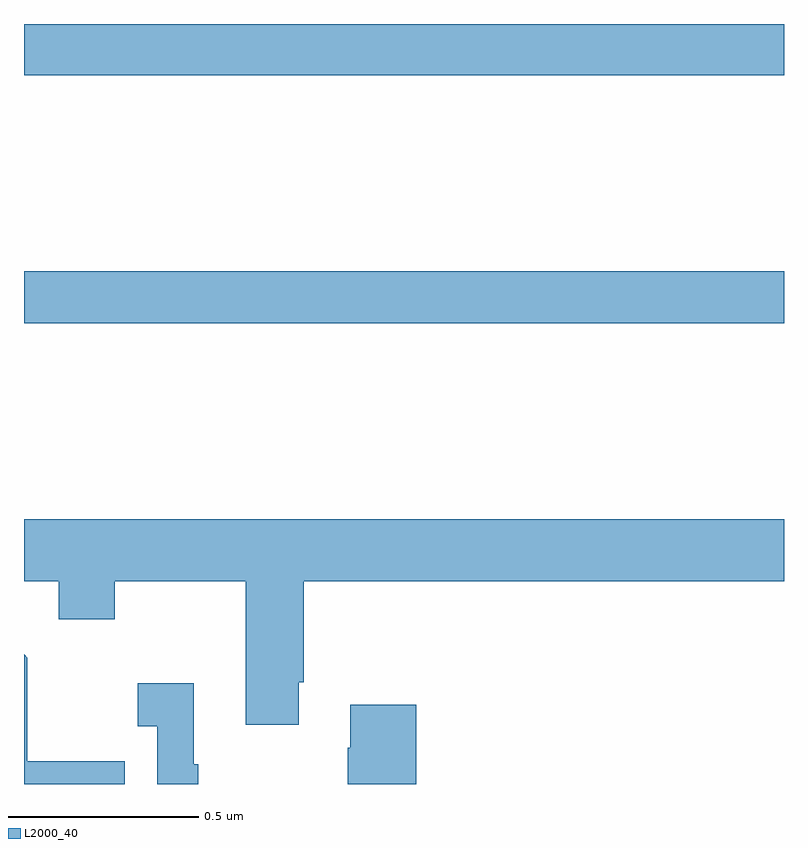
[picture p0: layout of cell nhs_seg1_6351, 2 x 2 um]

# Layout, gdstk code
import gdstk
lib = gdstk.Library(unit=1e-6, precision=1e-09)
def R(c, l, rs):  # rectangles x0, y0, x1, y1
    for r in rs: c.add(gdstk.rectangle(r[:2], r[2:], *l))
def P(c, l, *ps):  # polygons
    for p in ps: c.add(gdstk.Polygon(p, *l))
L2000_40 = (2000, 40)

nhs_seg1_6351 = lib.new_cell('nhs_seg1_6351')
R(nhs_seg1_6351, L2000_40, [(190,552.412,192,552.548), (190,553.064,192,553.199)])
P(nhs_seg1_6351, L2000_40, [(190.723,551.467),(190.736,551.467),(190.736,551.732),(192,551.732),(192,551.896),(190,551.896),(190,551.732),(190.091,551.732),(190.091,551.633),(190.239,551.633),(190.239,551.732),(190.583,551.732),(190.583,551.355),(190.723,551.355)],
  [(190.265,551.259),(190.009,551.259),(190.009,551.531),(190,551.54),(190,551.199),(190.265,551.199)],
  [(190.459,551.251),(190.447,551.251),(190.447,551.464),(190.299,551.464),(190.299,551.351),(190.35,551.351),(190.35,551.199),(190.459,551.199)],
  [(191.032,551.407),(190.859,551.407),(190.859,551.294),(190.852,551.294),(190.852,551.199),(191.032,551.199)])

lib.write_gds('nhs_seg1_6351.gds')
